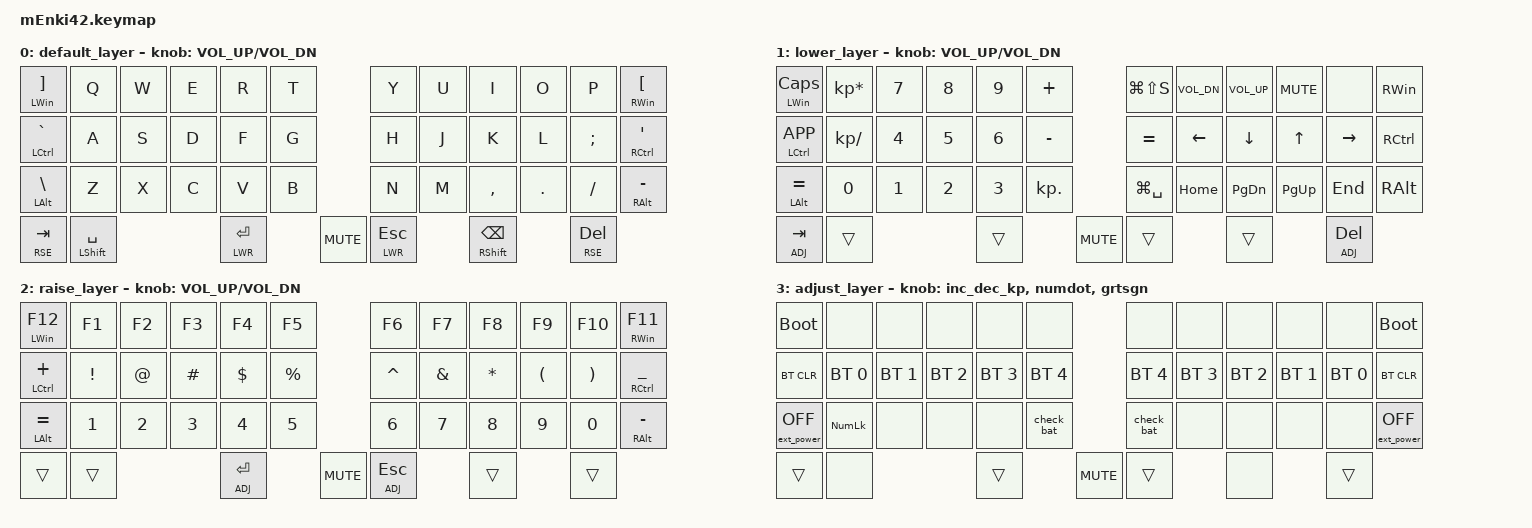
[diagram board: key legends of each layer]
/*
 * Copyright (c) 2020 The ZMK Contributors
 *
 * SPDX-License-Identifier: MIT
 */

#include <behaviors.dtsi>
#include <dt-bindings/zmk/keys.h>
#include <dt-bindings/zmk/bt.h>

#include <dt-bindings/zmk/ext_power.h>
 
#define DEF 0
#define LWR 1
#define RSE 2
#define ADJ 3

&lt { quick_tap_ms = <220>; };

/ {
    behaviors {
        mt_spc: mod_tap_space {
            compatible = "zmk,behavior-hold-tap";
            #binding-cells = <2>;
            flavor = "balanced"; // Change is here
            tapping-term-ms = <200>;
            bindings = <&kp>, <&kp>;
            display-name = "Mod-Tap-Space";
        };
        mt_bckspc: mod_tap_backspace {
            compatible = "zmk,behavior-hold-tap";
            #binding-cells = <2>;
            flavor = "balanced"; // Change is here
            tapping-term-ms = <200>;
            quick_tap_ms = <220>; // Change is here
            bindings = <&kp>, <&kp>;
            display-name = "Mod-Tap-Backspace";
        };
    };
};

/ {
    macros {
        numdot: numdot {
            label = "ZM_numdot";
            compatible = "zmk,behavior-macro";
            #binding-cells = <0>;
            wait-ms = <40>;
            tap-ms = <40>;
            bindings
                = <&macro_press   &kp LALT>    
                , <&macro_tap     &kp KP_N4 &kp KP_N6>    
                , <&macro_release &kp LALT>
                ;
        };
        grtsgn: grtsgn {
            label = "ZM_grtsgn";
            compatible = "zmk,behavior-macro";
            #binding-cells = <0>;
            wait-ms = <40>;
            tap-ms = <40>;
            bindings
                = <&macro_press   &kp LALT>    
                , <&macro_tap     &kp KP_N6 &kp KP_N2>    
                , <&macro_release &kp LALT>
                ;
        };
    };
};
/ {
        keymap {
                compatible = "zmk,keymap";

                default_layer {
// -----------------------------------------------------------------------------------
//| LGUI/] |  Q  |  W  |  E  |  R  |  T  |    |  Y  |  U  |  I  |  O  |  P  | RGUI/[ | 
//| CTRL/` |  A  |  S  |  D  |  F  |  G  |    |  H  |  J  |  K  |  L  |  ;  | CTRL/' |
//| LALT/\ |  Z  |  X  |  C  |  V  |  B  |    |  N  |  M  |  ,  |  .  |  /  | RALT/- |
//                     | RSE | SPC | LWR |    | LWR | BKS | RSE |
                        bindings = <
  &mt LWIN  RBKT  &kp Q &kp W &kp E &kp R &kp T              &kp Y  &kp U  &kp I     &kp O   &kp P    &mt RWIN  LBKT 
  &mt LCTRL GRAVE &kp A &kp S &kp D &kp F &kp G              &kp H  &kp J  &kp K     &kp L   &kp SEMI &mt RCTRL SQT
  &mt LALT  BSLH  &kp Z &kp X &kp C &kp V &kp B              &kp N  &kp M  &kp COMMA &kp DOT &kp FSLH &mt RALT  MINUS
    &lt RSE TAB &mt_spc LSHFT SPACE &lt LWR RET  &kp C_MUTE  &lt LWR ESC &mt_bckspc RSHFT BSPC &lt RSE DEL
                        >;
                        sensor-bindings = <&inc_dec_kp C_VOL_UP C_VOL_DN>;
                };
                lower_layer {
// -----------------------------------------------------------------------------------------
//| LGUI/CAPS |  *  |  7  |  8  |  9  |  +  |    | SRST | VOLD | VOLU | MUTE |      | RGUI |
//| CTRL/MENU |  /  |  4  |  5  |  6  |  -  |    |  =   | LEFT | DOWN |  UP  | RGHT | CTRL |
//| LALT/=    |  0  |  1  |  4  |  3  |  .  |    |  ls  | HOME | PGDN | PGUP | END  | RALT |
//                        | ADJ | ___ | ___ |    | ____ | ____ | ADJ  |
                        bindings = <
 &mt LWIN  CAPS  &kp KP_MULTIPLY &kp N7 &kp N8  &kp N9  &kp PLUS               &kp LG(LS(S)) &kp C_VOL_DN &kp C_VOL_UP &kp C_MUTE &none     &kp RWIN  
 &mt LCTRL K_APP &kp KP_SLASH    &kp N4 &kp N5  &kp N6  &kp MINUS              &kp EQUAL     &kp LEFT     &kp DOWN     &kp UP     &kp RIGHT &kp RCTRL
 &mt LALT  EQUAL &kp N0          &kp N1 &kp N2  &kp N3  &kp KP_DOT             &kp LG(SPACE) &kp HOME     &kp PG_DN    &kp PG_UP  &kp END   &kp RALT
                                   &lt ADJ TAB  &trans  &trans     &kp C_MUTE  &trans        &trans       &lt ADJ DEL
                        >;
                        sensor-bindings = <&inc_dec_kp C_VOL_UP C_VOL_DN>;
                };
                raise_layer {
// ------------------------------------------------------------------------------
//| LGUI/F12 | F1 | F2 | F3 | F4 | F5 |    | F6 | F7 | F8 | F9 | F10 | RGUI/F11 |
//| CTRL/+   | !  | @  | #  | $  | %  |    | ^  | &  | *  | (  |  )  | CTRL/_   | 
//| LALT/=   | 1  | 2  | 3  | 4  | 5  |    | 6  | 7  | 8  | 9  |  0  | RALT/-   |
//                     | __ | __ | ADJ|    | ADJ| __ | __ |
                            bindings = <
&mt LWIN  F12   &kp F1   &kp F2 &kp F3   &kp F4   &kp F5                   &kp F6    &kp F7   &kp F8   &kp F9   &kp F10  &mt RWIN  F11
&mt LCTRL PLUS  &kp EXCL &kp AT &kp HASH &kp DLLR &kp PRCNT                &kp CARET &kp AMPS &kp STAR &kp LPAR &kp RPAR &mt RCTRL UNDER 
&mt LALT  EQUAL &kp N1   &kp N2 &kp N3   &kp N4   &kp N5                   &kp N6    &kp N7   &kp N8   &kp N9   &kp N0   &mt RALT  MINUS
                                &trans   &trans   &lt ADJ RET  &kp C_MUTE  &lt ADJ ESC &trans &trans
                        >; 
                        sensor-bindings = <&inc_dec_kp C_VOL_UP C_VOL_DN>;
                };
                adjust_layer {
// --------------------------------------------------------------------------------------
//| BOTLDR |      |     |     |     |      |    |      |     |     |     |     | BOTLDR |
//| BTCLR  | BT0  | BT1 | BT2 | BT3 | BT4  |    | BT4  | BT3 | BT2 | BT1 | BT0 | BTCLR  |
//| pwrOFF | NMLK |     |     |     | CHBT |    | CHBT |     |     |     |     | pwrOFF |
//                      |     |     |      |    |      |     |     |
                        bindings = <
&bootloader       &none        &none        &none        &none        &none                    &none        &none        &none        &none        &none        &bootloader
&bt BT_CLR        &bt BT_SEL 0 &bt BT_SEL 1 &bt BT_SEL 2 &bt BT_SEL 3 &bt BT_SEL 4             &bt BT_SEL 4 &bt BT_SEL 3 &bt BT_SEL 2 &bt BT_SEL 1 &bt BT_SEL 0 &bt BT_CLR
&ext_power EP_OFF &kp KP_NUM   &none        &none        &none        &check_bat               &check_bat   &none        &none        &none        &none        &ext_power EP_OFF 
                                            &trans       &none        &trans       &kp C_MUTE  &trans       &none        &trans
                        >;
                        sensor-bindings = <&inc_dec_kp &numdot &grtsgn>;
                };
        };
};
